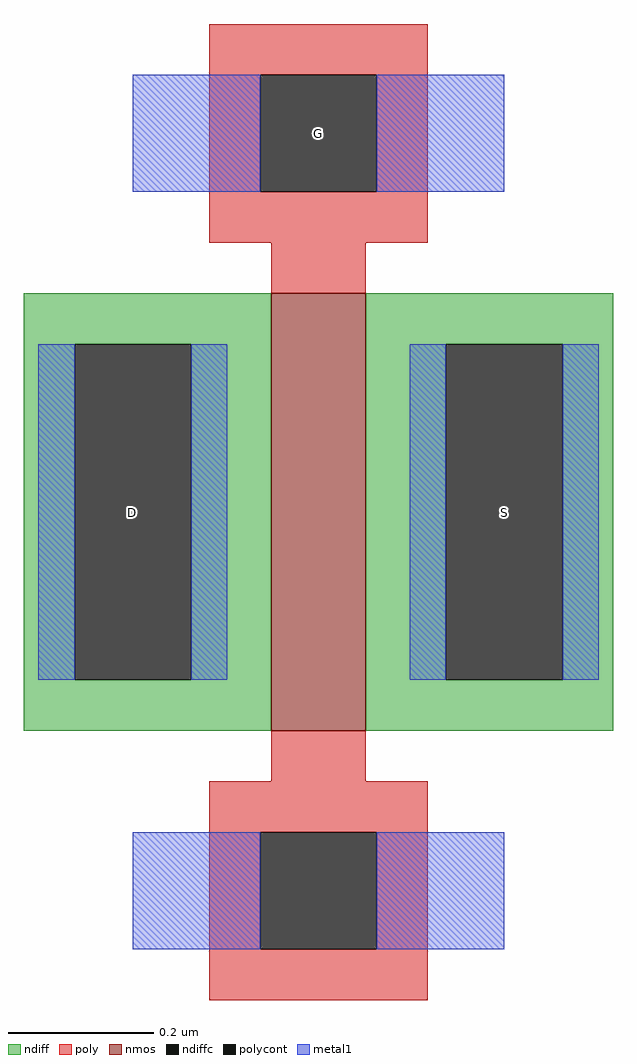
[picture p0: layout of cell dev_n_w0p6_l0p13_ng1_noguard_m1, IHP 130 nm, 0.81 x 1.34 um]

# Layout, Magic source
magic
tech ihp-sg13cmos5l
magscale 1 2
<< nmos >>
rect -13 -60 13 60
<< ndiff >>
rect -81 46 -13 60
rect -81 -46 -67 46
rect -35 -46 -13 46
rect -81 -60 -13 -46
rect 13 46 81 60
rect 13 -46 35 46
rect 67 -46 81 46
rect 13 -60 81 -46
<< ndiffc >>
rect -67 -46 -35 46
rect 35 -46 67 46
<< poly >>
rect -30 120 30 134
rect -30 88 -16 120
rect 16 88 30 120
rect -30 74 30 88
rect -13 60 13 74
rect -13 -74 13 -60
rect -30 -88 30 -74
rect -30 -120 -16 -88
rect 16 -120 30 -88
rect -30 -134 30 -120
<< polycont >>
rect -16 88 16 120
rect -16 -120 16 -88
<< metal1 >>
rect -51 88 -16 120
rect 16 88 51 120
rect -77 -46 -67 46
rect -35 -46 -25 46
rect 25 -46 35 46
rect 67 -46 77 46
rect -51 -120 -16 -88
rect 16 -120 51 -88
<< labels >>
rlabel ndiffc -51 0 -51 0 0 D
port 1 nsew
rlabel ndiffc 51 0 51 0 0 S
port 2 nsew
rlabel polycont 0 104 0 104 0 G
port 3 nsew
<< properties >>
string gencell sg13_lv_nmos
string library sg13cmos5l
string parameters w 0.6 l 0.13 m 1 ng 1 diffcov 100 polycov 100 guard 0 glc 1 grc 1 gtc 1 gbc 1 tbcov 100 rlcov 100 topc 1 botc 1 poverlap 0 doverlap 1 lmin 0.13 wmin 0.15 class mosfet compatible {sg13_lv_nmos sg13_hv_nmos} full_metal 1 conn_gates 1 gate_ring 0 doports 1 viasrc 0 viadrn 0 viagate 0 ccols 1 viagb 0 viagr 0 viagl 0 viagt 0
<< end >>
